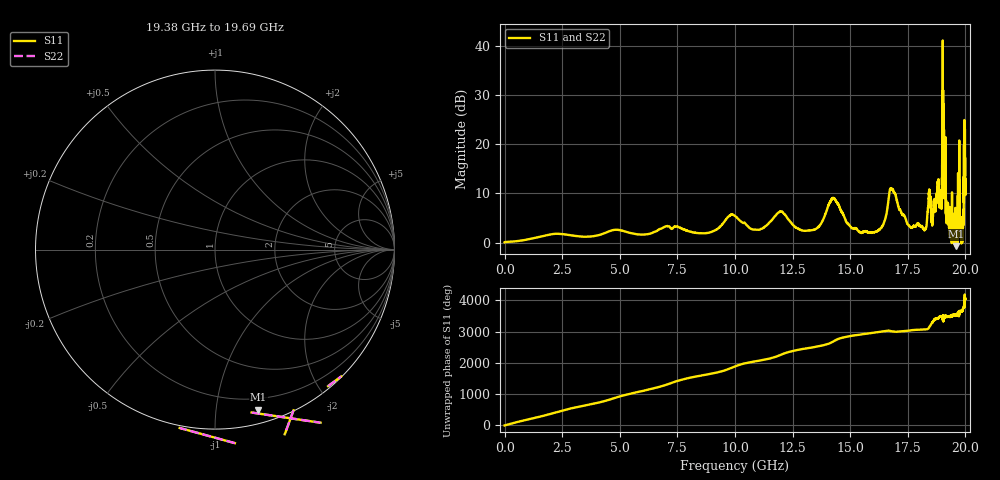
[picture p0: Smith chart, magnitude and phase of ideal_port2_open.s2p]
! Created with skrf (http://scikit-rf.org).
# GHz S RI R 50.0
!freq ReS11 ImS11 ReS21 ImS21 ReS12 ImS12 ReS22 ImS22
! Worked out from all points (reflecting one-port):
!   10001 points, 1 MHz to 20 GHz, reference 50 ohm
!   lowest |S11| = -0.7 dB at 19.58 GHz (marker M1), VSWR 25.13, Z = 5.38 - j65.1 ohm
!   phase of S11 starts at 0 deg and turns +4061 deg over the sweep
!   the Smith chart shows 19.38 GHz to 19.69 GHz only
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0.001  1.011 0.00301  0 0  0 0  1.011 0.00301
2.40088  -0.0959 1.227  0 0  0 0  -0.0959 1.227
3.334833  -0.2617 -1.126  0 0  0 0  -0.2617 -1.126
5.862707  1.21 0.0727  0 0  0 0  1.21 0.0727
6.668667  -1.088 0.7949  0 0  0 0  -1.088 0.7949
7.534623  1.434 -0.1886  0 0  0 0  1.434 -0.1886
9.370532  0.2862 -1.441  0 0  0 0  0.2862 -1.441
10.0005  0.0357 1.871  0 0  0 0  0.0357 1.871
10.90245  -0.3622 -1.307  0 0  0 0  -0.3622 -1.307
11.67642  1.742 0.4249  0 0  0 0  1.742 0.4249
12.26039  -1.792 0.1821  0 0  0 0  -1.792 0.1821
13.33433  1.184 -0.6261  0 0  0 0  1.184 -0.6261
14.0603  -0.1653 2.417  0 0  0 0  -0.1653 2.417
14.28229  -2.82 0.2258  0 0  0 0  -2.82 0.2258
14.52027  -0.4977 -2.306  0 0  0 0  -0.4977 -2.306
15.12624  1.39 -0.0861  0 0  0 0  1.39 -0.0861
16.66817  -2.513 1.218  0 0  0 0  -2.513 1.218
18.32208  -1.546 -0.426  0 0  0 0  -1.546 -0.426
18.52607  1.862 0.5498  0 0  0 0  1.862 0.5498
19.04205  -6.178 -7.26  0 0  0 0  -6.178 -7.26
19.57802  0.2421 -0.8912  0 0  0 0  0.2421 -0.8912
20  -0.7797 3.969  0 0  0 0  -0.7797 3.969
